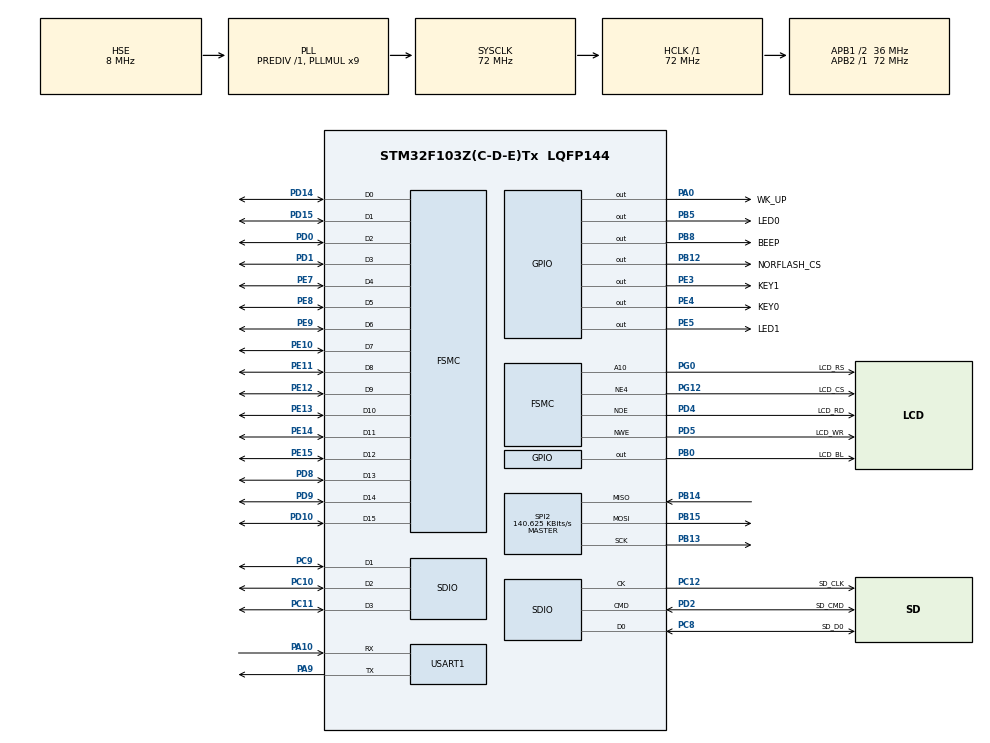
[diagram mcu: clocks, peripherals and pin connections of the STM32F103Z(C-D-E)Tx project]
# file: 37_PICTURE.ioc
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FATFS._CODE_PAGE=936
FATFS._FS_LOCK=0
FATFS._LFN_UNICODE=0
FATFS._MAX_SS=512
FATFS._STRF_ENCODE=0
FATFS._USE_LABEL=1
FATFS._USE_LFN=3
FATFS._VOLUMES=2
FSMC.AddressSetupTime1=0
FSMC.BusTurnAroundDuration1=15
FSMC.DataSetupTime1=15
FSMC.ExtendedAddressSetupTime1=0
FSMC.ExtendedDataSetupTime1=1
FSMC.ExtendedMode1=FSMC_EXTENDED_MODE_ENABLE
Mcu.Family=STM32F1
Mcu.Name=STM32F103Z(C-D-E)Tx
Mcu.Package=LQFP144
NVIC.PriorityGroup=NVIC_PRIORITYGROUP_2
NVIC.TIM4_IRQn=true\:2\:2\:true\:false\:true\:true\:true\:true
NVIC.USART1_IRQn=true\:2\:2\:true\:false\:true\:true\:true\:true
OSC_IN.Mode=HSE-External-Oscillator
OSC_IN.Signal=RCC_OSC_IN
OSC_OUT.Mode=HSE-External-Oscillator
OSC_OUT.Signal=RCC_OSC_OUT
PA0-WKUP.GPIO_Label=WK_UP
PA0-WKUP.GPIO_PuPd=GPIO_PULLDOWN
PA0-WKUP.GPIO_Speed=GPIO_SPEED_FREQ_HIGH
PA0-WKUP.PinState=GPIO_PIN_RESET
PA0-WKUP.Signal=GPIO_Output
PA10.Mode=Asynchronous
PA10.Signal=USART1_RX
PA13.Mode=Serial_Wire
PA13.Signal=SYS_JTMS-SWDIO
PA14.Mode=Serial_Wire
PA14.Signal=SYS_JTCK-SWCLK
PA9.Mode=Asynchronous
PA9.Signal=USART1_TX
PB0.GPIO_Label=LCD_BL
PB0.GPIO_PuPd=GPIO_PULLUP
PB0.GPIO_Speed=GPIO_SPEED_FREQ_HIGH
PB0.PinState=GPIO_PIN_SET
PB0.Signal=GPIO_Output
PB12.GPIO_Label=NORFLASH_CS
PB12.GPIO_PuPd=GPIO_PULLUP
PB12.GPIO_Speed=GPIO_SPEED_FREQ_HIGH
PB12.PinState=GPIO_PIN_SET
PB12.Signal=GPIO_Output
PB13.Mode=Full_Duplex_Master
PB13.Signal=SPI2_SCK
PB14.Mode=Full_Duplex_Master
PB14.Signal=SPI2_MISO
PB15.Mode=Full_Duplex_Master
PB15.Signal=SPI2_MOSI
PB5.GPIO_Label=LED0
PB5.GPIO_PuPd=GPIO_PULLUP
PB5.GPIO_Speed=GPIO_SPEED_FREQ_HIGH
PB5.PinState=GPIO_PIN_SET
PB5.Signal=GPIO_Output
PB8.GPIO_Label=BEEP
PB8.GPIO_ModeDefaultOutputPP=GPIO_MODE_OUTPUT_PP
PB8.GPIO_PuPd=GPIO_PULLDOWN
PB8.GPIO_Speed=GPIO_SPEED_FREQ_HIGH
PB8.PinState=GPIO_PIN_RESET
PB8.Signal=GPIO_Output
PC10.Mode=SD_4_bits_Wide_bus
PC10.Signal=SDIO_D2
PC11.Mode=SD_4_bits_Wide_bus
PC11.Signal=SDIO_D3
PC12.GPIO_Label=SD_CLK
PC12.Mode=SD_4_bits_Wide_bus
PC12.Signal=SDIO_CK
PC14-OSC32_IN.Mode=LSE-External-Oscillator
PC14-OSC32_IN.Signal=RCC_OSC32_IN
PC15-OSC32_OUT.Mode=LSE-External-Oscillator
PC15-OSC32_OUT.Signal=RCC_OSC32_OUT
PC8.GPIO_Label=SD_D0
PC8.Mode=SD_4_bits_Wide_bus
PC8.Signal=SDIO_D0
PC9.Mode=SD_4_bits_Wide_bus
PC9.Signal=SDIO_D1
PD0.Signal=FSMC_D2_DA2
PD1.Signal=FSMC_D3_DA3
PD10.Signal=FSMC_D15_DA15
PD14.Signal=FSMC_D0_DA0
PD15.Signal=FSMC_D1_DA1
PD2.GPIO_Label=SD_CMD
PD2.Mode=SD_4_bits_Wide_bus
PD2.Signal=SDIO_CMD
PD4.GPIO_Label=LCD_RD
PD4.Signal=FSMC_NOE
PD5.GPIO_Label=LCD_WR
PD5.Signal=FSMC_NWE
PD8.Signal=FSMC_D13_DA13
PD9.Signal=FSMC_D14_DA14
PE10.Signal=FSMC_D7_DA7
PE11.Signal=FSMC_D8_DA8
PE12.Signal=FSMC_D9_DA9
PE13.Signal=FSMC_D10_DA10
PE14.Signal=FSMC_D11_DA11
PE15.Signal=FSMC_D12_DA12
PE3.GPIO_Label=KEY1
PE3.GPIO_PuPd=GPIO_PULLUP
PE3.GPIO_Speed=GPIO_SPEED_FREQ_HIGH
PE3.PinState=GPIO_PIN_SET
PE3.Signal=GPIO_Output
PE4.GPIO_Label=KEY0
PE4.GPIO_PuPd=GPIO_PULLUP
PE4.GPIO_Speed=GPIO_SPEED_FREQ_HIGH
PE4.PinState=GPIO_PIN_SET
PE4.Signal=GPIO_Output
PE5.GPIO_Label=LED1
PE5.GPIO_PuPd=GPIO_PULLUP
PE5.GPIO_Speed=GPIO_SPEED_FREQ_HIGH
PE5.PinState=GPIO_PIN_SET
PE5.Signal=GPIO_Output
PE7.Signal=FSMC_D4_DA4
PE8.Signal=FSMC_D5_DA5
PE9.Signal=FSMC_D6_DA6
PG0.GPIO_Label=LCD_RS
PG0.Signal=FSMC_A10
PG12.GPIO_Label=LCD_CS
PG12.Mode=NorPsramChipSelect4_1
PG12.Signal=FSMC_NE4
ProjectManager.HeapSize=0x1000
ProjectManager.StackSize=0x800
ProjectManager.TargetToolchain=STM32CubeIDE
RCC.AHBFreq_Value=72000000
RCC.APB1CLKDivider=RCC_HCLK_DIV2
RCC.APB1Freq_Value=36000000
RCC.APB1TimFreq_Value=72000000
RCC.APB2Freq_Value=72000000
RCC.APB2TimFreq_Value=72000000
RCC.HCLKFreq_Value=72000000
RCC.PLLMUL=RCC_PLL_MUL9
RCC.PLLSourceVirtual=RCC_PLLSOURCE_HSE
RCC.SYSCLKFreq_VALUE=72000000
RCC.SYSCLKSource=RCC_SYSCLKSOURCE_PLLCLK
RCC.USBFreq_Value=72000000
SDIO.ClockDiv=0x06
SDIO.HardwareFlowControl=SDIO_HARDWARE_FLOW_CONTROL_ENABLE
SH.FSMC_A10.0=FSMC_A10,A10_1
SH.FSMC_D0_DA0.0=FSMC_D0,16b-d1
SH.FSMC_D10_DA10.0=FSMC_D10,16b-d1
SH.FSMC_D11_DA11.0=FSMC_D11,16b-d1
SH.FSMC_D12_DA12.0=FSMC_D12,16b-d1
SH.FSMC_D13_DA13.0=FSMC_D13,16b-d1
SH.FSMC_D14_DA14.0=FSMC_D14,16b-d1
SH.FSMC_D15_DA15.0=FSMC_D15,16b-d1
SH.FSMC_D1_DA1.0=FSMC_D1,16b-d1
SH.FSMC_D2_DA2.0=FSMC_D2,16b-d1
SH.FSMC_D3_DA3.0=FSMC_D3,16b-d1
SH.FSMC_D4_DA4.0=FSMC_D4,16b-d1
SH.FSMC_D5_DA5.0=FSMC_D5,16b-d1
SH.FSMC_D6_DA6.0=FSMC_D6,16b-d1
SH.FSMC_D7_DA7.0=FSMC_D7,16b-d1
SH.FSMC_D8_DA8.0=FSMC_D8,16b-d1
SH.FSMC_D9_DA9.0=FSMC_D9,16b-d1
SH.FSMC_NOE.0=FSMC_NOE,Lcd1
SH.FSMC_NWE.0=FSMC_NWE,Lcd1
SPI2.BaudRatePrescaler=SPI_BAUDRATEPRESCALER_256
SPI2.CLKPhase=SPI_PHASE_2EDGE
SPI2.CLKPolarity=SPI_POLARITY_HIGH
SPI2.CalculateBaudRate=140.625 KBits/s
SPI2.Direction=SPI_DIRECTION_2LINES
SPI2.Mode=SPI_MODE_MASTER
SPI2.VirtualType=VM_MASTER
TIM4.AutoReloadPreload=TIM_AUTORELOAD_PRELOAD_ENABLE
TIM4.Period=1000 - 1
TIM4.Prescaler=720 - 1
USART1.VirtualMode=VM_ASYNC
VP_FATFS_VS_Generic.Mode=User_defined
VP_TIM4_VS_ClockSourceINT.Mode=Internal
board=custom

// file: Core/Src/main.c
/* USER CODE BEGIN Header */
/**
 ****************************************************************************************************
 * @file        main.c
 * @author      正点原子团队(ALIENTEK)
 * @version     V1.0
 * @date        2024-01-01
 * @brief       图片显示 实验
 * @license     Copyright (c) 2020-2032, 广州市星翼电子科技有限公司
 ****************************************************************************************************
 * @attention
 *
 * 实验平台:正点原子 STM32F103开发板
 * 在线视频:www.yuanzige.com
 * 技术论坛:www.openedv.com
 * 公司网址:www.alientek.com
 * 购买地址:openedv.taobao.com
 *
 ****************************************************************************************************
 */
/* USER CODE END Header */
#include "main.h"
#include "fatfs.h"
#include "sdio.h"
#include "spi.h"
#include "tim.h"
#include "usart.h"
#include "gpio.h"
#include "fsmc.h"

/* USER CODE BEGIN Includes */
#include "../../BSP/LED/led.h"
#include "../../BSP/KEY/key.h"
#include "../../BSP/LCD/lcd.h"
#include "../../BSP/NORFLASH/norflash.h"
#include "../../SYSTEM/delay/delay.h"
#include "../../ATK_Middlewares/MALLOC/malloc.h"
#include "../../ATK_Middlewares/PICTURE/piclib.h"
#include "../../FatFs/exfuns/exfuns.h"
#include "../../ATK_Middlewares/TEXT/text.h"
#include "ff.h"
#include "math.h"
/* USER CODE END Includes */

/* USER CODE BEGIN PTD */
uint16_t pic_get_tnum(char *path);
/**
 * @brief       得到path路径下,目标文件的总个数
 * @param       path : 路径
 * @retval      总有效文件数
 */
uint16_t pic_get_tnum(char *path)
{
    uint8_t res;
    uint16_t rval = 0;
    DIR tdir;                                      	/* 临时目录 */
	FILINFO tfileinfo;								/* 临时文件信息 */
	uint8_t *fn;
    res = f_opendir(&tdir, (const TCHAR*)path); 	/* 打开目录 */
  	tfileinfo.lfsize = _MAX_LFN * 2 + 1;			/* 长文件名最大长度 */
	tfileinfo.lfname = mymalloc(SRAMIN, tfileinfo.lfsize);/* 为长文件缓存区分配内存 */
	if(res == FR_OK && tfileinfo.lfname != NULL)
	{
		while(1)//查询总的有效文件数
		{
	        res = f_readdir(&tdir, &tfileinfo);       			/* 读取目录下的一个文件 */
	        if(res != FR_OK || tfileinfo.fname[0] == 0)break;	/* 错误了/到末尾了,退出 */
     		fn = (uint8_t*)(*tfileinfo.lfname? tfileinfo.lfname : tfileinfo.fname);
			res = exfuns_file_type((char*)fn);
			if((res & 0XF0) == 0X50)//取高四位,看看是不是图片文件
			{
				rval++;//有效文件数增加1
			}
		}
	}
	return rval;
}

/* USER CODE END PTD */

void SystemClock_Config(void);

int main(void)
{
  /* USER CODE BEGIN 1 */
    uint8_t res;
    DIR picdir;           /* 图片目录 */
    FILINFO picfileinfo;  /* 文件信息 */
    char *pname;          /* 带路径的文件名 */
    uint8_t *fn;   		  /* 长文件名 */
    uint16_t totpicnum;   /* 图片文件总数 */
    uint16_t curindex;    /* 图片当前索引 */
    uint8_t key;          /* 键值 */
    uint8_t pause = 0;    /* 暂停标记 */
    uint8_t t;
    uint16_t temp;
    uint32_t *picoffsettbl; /* 图片文件offset索引表 */
  /* USER CODE END 1 */

  /* MCU Configuration--------------------------------------------------------*/

  /* Reset of all peripherals, Initializes the Flash interface and the Systick. */
  HAL_Init();

  /* Configure the system clock */
  SystemClock_Config();

  /* USER CODE BEGIN SysInit */
  delay_init(72);						   	/* 初始化延时函数 */
  /* USER CODE END SysInit */

  /* Initialize all configured peripherals */
  MX_GPIO_Init();
  MX_FSMC_Init();
  MX_USART1_UART_Init();
  MX_SDIO_SD_Init();
  MX_FATFS_Init();
  MX_SPI2_Init();
  MX_TIM4_Init();
  /* USER CODE BEGIN 2 */
  lcd_init();                         		/* 初始化LCD */
  norflash_init();                    		/* 初始化NORFLASH */
  my_mem_init(SRAMIN);               		/* 初始化内部SRAM内存池 */
  exfuns_init();                 			/* 为fatfs相关变量申请内存 */

  f_mount(fs[0], "0:", 1);       			/* 挂载SD卡 */
  f_mount(fs[1], "1:", 1);       			/* 挂载SPI_FLASH卡 */

  while (fonts_init())                		/* 检查字库 */
  {
      lcd_show_string(30, 50, 200, 16, 16, "Font Error!", RED);
      delay_ms(200);
      lcd_fill(30, 50, 240, 66, WHITE); 	/* 清除显示 */
      delay_ms(200);
  }

  text_show_string(30,  50, 200, 16, "正点原子STM32开发板", 16, 0, RED);
  text_show_string(30,  70, 200, 16, "图片显示 实验", 16, 0, RED);
  text_show_string(30,  90, 200, 16, "KEY0:NEXT KEY1:PREV", 16, 0, RED);
  text_show_string(30, 110, 200, 16, "KEY_UP:PAUSE", 16, 0, RED);
  text_show_string(30, 130, 200, 16, "正点原子@ALIENTEK", 16, 0, RED);

  while (f_opendir(&picdir, "0:/PICTURE")) /* 打开图片文件夹 */
  {
	  text_show_string(30, 150, 240, 16, "PICTURE文件夹错误!", 16, 0, RED);
	  delay_ms(200);
	  lcd_fill(30, 150, 240, 186, WHITE); 	/* 清除显示 */
	  delay_ms(200);
  }

  totpicnum = pic_get_tnum("0:/PICTURE"); 	/* 得到总有效文件数 */

  while (totpicnum == NULL) 				/* 图片文件为0 */
  {
	  text_show_string(30, 150, 240, 16, "没有图片文件!", 16, 0, RED);
	  delay_ms(200);
	  lcd_fill(30, 150, 240, 186, WHITE); 	/* 清除显示 */
	  delay_ms(200);
  }
  picfileinfo.lfsize = _MAX_LFN * 2 + 1;						/* 长文件名最大长度 */
  picfileinfo.lfname = mymalloc(SRAMIN, picfileinfo.lfsize);	/* 为长文件缓存区分配内存 */
  pname=mymalloc(SRAMIN, picfileinfo.lfsize);					/* 为带路径的文件名分配内存 */
  picoffsettbl = mymalloc(SRAMIN, 2 * totpicnum);             	/* 申请4*totpicnum个字节的内存,用于存放图片索引 */

  while (!picfileinfo.lfname || !pname || !picoffsettbl) 		/* 内存分配出错 */
  {
	  text_show_string(30, 150, 240, 16, "内存分配失败!", 16, 0, RED);
	  delay_ms(200);
	  lcd_fill(30, 150, 240, 186, WHITE); /* 清除显示 */
	  delay_ms(200);
  }

  /* 记录索引 */
  res = f_opendir(&picdir, "0:/PICTURE"); /* 打开目录 */

  if (res == FR_OK)
  {
	  curindex = 0; /* 当前索引为0 */

	  while (1) /* 全部查询一遍 */
	  {
		  temp = picdir.index;                    /* 记录当前dptr偏移 */
		  res = f_readdir(&picdir, &picfileinfo); /* 读取目录下的一个文件 */

		  if (res != FR_OK || picfileinfo.fname[0] == 0)
			  break; /* 错误了/到末尾了,退出 */
		  fn = (uint8_t*)(*picfileinfo.lfname? picfileinfo.lfname : picfileinfo.fname);
		  res = exfuns_file_type((char *)fn);

		  if ((res & 0XF0) == 0X50) 			/* 取高四位,看看是不是图片文件 */
		  {
			  picoffsettbl[curindex] = temp; 	/* 记录索引 */
			  curindex++;
		  }
	  }
  }

  text_show_string(30, 150, 240, 16, "开始显示...", 16, 0, RED);
  delay_ms(1500);
  piclib_init();                                         /* 初始化画图 */
  curindex = 0;                                          /* 从0开始显示 */
  res = f_opendir(&picdir, (const TCHAR *)"0:/PICTURE"); /* 打开目录 */

  while (res == FR_OK) /* 打开成功 */
  {
	  dir_sdi(&picdir, picoffsettbl[curindex]); 		/* 改变当前目录索引 */
	  res = f_readdir(&picdir, &picfileinfo);    		/* 读取目录下的一个文件 */

	  if (res != FR_OK || picfileinfo.fname[0] == 0)
		  break; /* 错误了/到末尾了,退出 */
	  fn = (uint8_t*)(*picfileinfo.lfname? picfileinfo.lfname : picfileinfo.fname);
	  strcpy((char *)pname, "0:/PICTURE/");          	/* 复制路径(目录) */
	  strcat((char *)pname, (const char *)fn); 			/* 将文件名接在后面 */
	  lcd_clear(BLACK);
	  piclib_ai_load_picfile(pname, 0, 0, lcddev.width, lcddev.height, 1); /* 显示图片 */
	  text_show_string(2, 2, lcddev.width, 16, (char *)pname, 16, 1, RED); /* 显示图片名字 */
	  t = 0;
  /* USER CODE END 2 */

  /* Infinite loop */
  /* USER CODE BEGIN WHILE */
  while (1)
  {
      key = key_scan(0); /* 扫描按键 */

      if (t > 250)
          key = 1; /* 模拟一次按下KEY0 */

      if ((t % 20) == 0)
      {
          LED0_TOGGLE(); /* LED0闪烁,提示程序正在运行. */
      }

      if (key == KEY1_PRES) /* 上一张 */
      {
          if (curindex)
          {
              curindex--;
          }
          else
          {
              curindex = totpicnum - 1;
          }

          break;
      }
      else if (key == KEY0_PRES) /* 下一张 */
      {
          curindex++;

          if (curindex >= totpicnum)
              curindex = 0; /* 到末尾的时候,自动从头开始 */

          break;
      }
      else if (key == WKUP_PRES)
      {
          pause = !pause;
          LED1(!pause); /* 暂停的时候LED1亮. */
      }

      if (pause == 0)
          t++;

      delay_ms(10);
    /* USER CODE END WHILE */

    /* USER CODE BEGIN 3 */
  }
  res = 0;
  }
  myfree(SRAMIN, picfileinfo.lfname);  	/* 释放内存 */
  myfree(SRAMIN, pname);        		/* 释放内存 */
  myfree(SRAMIN, picoffsettbl); 		/* 释放内存 */
  /* USER CODE END 3 */
}

void SystemClock_Config(void)
{
  RCC_OscInitTypeDef RCC_OscInitStruct = {0};
  RCC_ClkInitTypeDef RCC_ClkInitStruct = {0};

  /** Initializes the RCC Oscillators according to the specified parameters
  * in the RCC_OscInitTypeDef structure.
  */
  RCC_OscInitStruct.OscillatorType = RCC_OSCILLATORTYPE_HSE;
  RCC_OscInitStruct.HSEState = RCC_HSE_ON;
  RCC_OscInitStruct.HSEPredivValue = RCC_HSE_PREDIV_DIV1;
  RCC_OscInitStruct.HSIState = RCC_HSI_ON;
  RCC_OscInitStruct.PLL.PLLState = RCC_PLL_ON;
  RCC_OscInitStruct.PLL.PLLSource = RCC_PLLSOURCE_HSE;
  RCC_OscInitStruct.PLL.PLLMUL = RCC_PLL_MUL9;
  if (HAL_RCC_OscConfig(&RCC_OscInitStruct) != HAL_OK)
  {
    Error_Handler();
  }

  /** Initializes the CPU, AHB and APB buses clocks
  */
  RCC_ClkInitStruct.ClockType = RCC_CLOCKTYPE_HCLK|RCC_CLOCKTYPE_SYSCLK
                              |RCC_CLOCKTYPE_PCLK1|RCC_CLOCKTYPE_PCLK2;
  RCC_ClkInitStruct.SYSCLKSource = RCC_SYSCLKSOURCE_PLLCLK;
  RCC_ClkInitStruct.AHBCLKDivider = RCC_SYSCLK_DIV1;
  RCC_ClkInitStruct.APB1CLKDivider = RCC_HCLK_DIV2;
  RCC_ClkInitStruct.APB2CLKDivider = RCC_HCLK_DIV1;

  if (HAL_RCC_ClockConfig(&RCC_ClkInitStruct, FLASH_LATENCY_2) != HAL_OK)
  {
    Error_Handler();
  }
}

void Error_Handler(void)
{
  __disable_irq();
  while (1)
  {
  }
}
